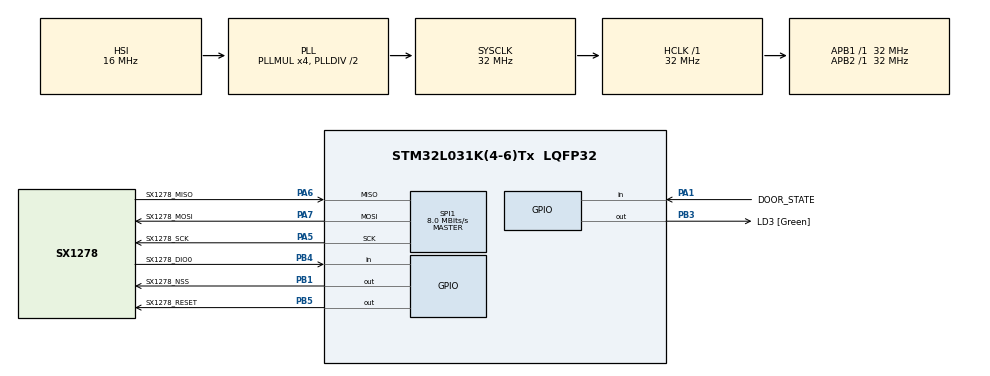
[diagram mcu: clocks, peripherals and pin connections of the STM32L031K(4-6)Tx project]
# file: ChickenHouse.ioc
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ADC.ContinuousConvMode=ENABLE
ADC.DMAContinuousRequests=ENABLE
ADC.EOCSelection=ADC_EOC_SEQ_CONV
ADC.Overrun=ADC_OVR_DATA_OVERWRITTEN
ADC.SamplingTime=ADC_SAMPLETIME_39CYCLES_5
Dma.ADC.0.Direction=DMA_PERIPH_TO_MEMORY
Dma.ADC.0.Instance=DMA1_Channel1
Dma.ADC.0.MemDataAlignment=DMA_MDATAALIGN_HALFWORD
Dma.ADC.0.MemInc=DMA_MINC_ENABLE
Dma.ADC.0.Mode=DMA_NORMAL
Dma.ADC.0.PeriphDataAlignment=DMA_PDATAALIGN_HALFWORD
Dma.ADC.0.PeriphInc=DMA_PINC_DISABLE
Dma.ADC.0.Priority=DMA_PRIORITY_MEDIUM
Dma.Request0=ADC
Mcu.Family=STM32L0
Mcu.Name=STM32L031K(4-6)Tx
Mcu.Package=LQFP32
NVIC.ADC1_COMP_IRQn=true\:0\:0\:false\:false\:true\:true\:true
NVIC.DMA1_Channel1_IRQn=true\:0\:0\:false\:false\:true\:false\:true
NVIC.RTC_IRQn=true\:0\:0\:false\:false\:true\:true\:true
NVIC.SPI1_IRQn=true\:0\:0\:false\:false\:true\:true\:true
PA1.GPIO_Label=DOOR_STATE
PA1.GPIO_PuPd=GPIO_PULLDOWN
PA1.Signal=GPIO_Input
PA13.GPIO_Label=TMS
PA13.Mode=Serial_Wire
PA13.Signal=SYS_SWDIO
PA14.GPIO_Label=TCK
PA14.Mode=Serial_Wire
PA14.Signal=SYS_SWCLK
PA5.GPIO_Label=SX1278_SCK
PA5.Mode=Full_Duplex_Master
PA5.Signal=SPI1_SCK
PA6.GPIO_Label=SX1278_MISO
PA6.Mode=Full_Duplex_Master
PA6.Signal=SPI1_MISO
PA7.GPIO_Label=SX1278_MOSI
PA7.Mode=Full_Duplex_Master
PA7.Signal=SPI1_MOSI
PB1.GPIO_Label=SX1278_NSS
PB1.Signal=GPIO_Output
PB3.GPIO_Label=LD3 [Green]
PB3.Signal=GPIO_Output
PB4.GPIO_Label=SX1278_DIO0
PB4.Signal=GPIO_Input
PB5.GPIO_Label=SX1278_RESET
PB5.Signal=GPIO_Output
PC14-OSC32_IN.Mode=LSE-External-Oscillator
PC14-OSC32_IN.Signal=RCC_OSC32_IN
PC15-OSC32_OUT.Mode=LSE-External-Oscillator
PC15-OSC32_OUT.Signal=RCC_OSC32_OUT
ProjectManager.HeapSize=0x200
ProjectManager.StackSize=0x400
ProjectManager.TargetToolchain=STM32CubeIDE
RCC.AHBFreq_Value=32000000
RCC.APB1Freq_Value=32000000
RCC.APB1TimFreq_Value=32000000
RCC.APB2Freq_Value=32000000
RCC.APB2TimFreq_Value=32000000
RCC.HCLKFreq_Value=32000000
RCC.HSE_VALUE=8000000
RCC.HSI16_VALUE=16000000
RCC.HSI48_VALUE=48000000
RCC.HSI_VALUE=16000000
RCC.MSI_VALUE=2097000
RCC.PLLMUL=RCC_PLLMUL_4
RCC.SYSCLKFreq_VALUE=32000000
RCC.SYSCLKSource=RCC_SYSCLKSOURCE_PLLCLK
RCC.VCOOutputFreq_Value=64000000
RTC.AsynchPrediv=0x7c
RTC.SynchPrediv=0x127
SPI1.BaudRatePrescaler=SPI_BAUDRATEPRESCALER_4
SPI1.CalculateBaudRate=8.0 MBits/s
SPI1.Direction=SPI_DIRECTION_2LINES
SPI1.Mode=SPI_MODE_MASTER
SPI1.VirtualType=VM_MASTER
VP_ADC_TempSens_Input.Mode=IN-TempSens
VP_ADC_Vref_Input.Mode=IN-Vrefint
VP_RTC_VS_RTC_Activate.Mode=RTC_Enabled
VP_RTC_VS_RTC_Calendar.Mode=RTC_Calendar
VP_RTC_VS_RTC_WakeUp_intern.Mode=WakeUp
board=NUCLEO-L031K6

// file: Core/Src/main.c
/* USER CODE BEGIN Header */
/**
  ******************************************************************************
  * @file           : main.c
  * @brief          : Main program body
  ******************************************************************************
  * @attention
  *
  * <h2><center>&copy; Copyright (c) 2020 STMicroelectronics.
  * All rights reserved.</center></h2>
  *
  * This software component is licensed by ST under BSD 3-Clause license,
  * the "License"; You may not use this file except in compliance with the
  * License. You may obtain a copy of the License at:
  *                        opensource.org/licenses/BSD-3-Clause
  *
  ******************************************************************************
  */
/* USER CODE END Header */
#include "main.h"

/* USER CODE BEGIN Includes */
#include "SX1278.h"
#include "hal_time.h"
/* USER CODE END Includes */

/* USER CODE BEGIN PD */
/// Read analog digital converter values every 10 minutes
#define COUNTS_ADC_READ_INTERVAL          30
/// Standard check interval for the digital input (chicken house door)
#define MEASURING_INTERVAL_MS             20000

/// Temperature sensor calibration value address for 130 °C
#define TEMP130_CAL_ADDR                  ((uint16_t*) ((uint32_t) 0x1FF8007E))
/// Temperature sensor calibration value address for 30 °C
#define TEMP30_CAL_ADDR                   ((uint16_t*) ((uint32_t) 0x1FF8007A))
/// Vdd calibration voltage in unit mV
#define VDD_CALIB                         ((uint16_t) (3000))
/* USER CODE END PD */

ADC_HandleTypeDef hadc;
DMA_HandleTypeDef hdma_adc;

RTC_HandleTypeDef hrtc;

SPI_HandleTypeDef hspi1;

/* USER CODE BEGIN PV */
// Hardware connection for the SX1278 (DIO, Reset and Spi)
SX1278_hw_t SX1278_hw;
// Handle to the SX1278 driver
SX1278_t SX1278;

// Send buffer
uint8_t buffer[64];
// Length of a message
int message_length;

// Last computes temperature value
int8_t temperature;
// Last calculates reference voltage value
uint16_t batteryVoltage;

// Read counter for the digital analog converter
uint16_t counterReadAdc = 0xFFFF;

// Flag ad-conversion is complete
uint8_t ADC_ConversionComplete;
/* USER CODE END PV */

void SystemClock_Config(void);
static void MX_GPIO_Init(void);
static void MX_DMA_Init(void);
static void MX_RTC_Init(void);
static void MX_SPI1_Init(void);
static void MX_ADC_Init(void);

/* USER CODE BEGIN 0 */
//-----------------------------------------------------------------
// Function for low power mode
//-----------------------------------------------------------------
// Choose the low power mode to enter
static void EnterLowPowerMode(void);
// Setup for the low power mode
static void SetupLowPowerMode(bool enableFastWakeup);
// Performs all necessary things after wake up to get a working system
static void ResumeLowPowerMode(void);

//-----------------------------------------------------------------
// Function for analog digital converter
//-----------------------------------------------------------------
// Starts the adc-calibration
static void AdcCalibration(void);
// Gets the analog values via dma process
static void GetAnalogValues(void);
// Starts analog digital converting process if necessary
static void GetAnalogValuesIfNecesssary(void);
// Computes the temperature value
static int32_t ComputeTemperature(uint16_t measure, uint16_t vdda);
// Calculates the current value of the reference voltage (battery voltage) in unit mV
static uint16_t CalcVref3_3V(uint32_t adcValue);

//-----------------------------------------------------------------
// LoRa-Functions
//-----------------------------------------------------------------
// Initializes the SX1278 module
static void InitializeSX1278Module(void);
// Fills the send buffer for a LoRa-packet
static int FillSendBuffer(void);
// Sends out a LoRa-packet
static void SendLoRaPacket(uint8_t *txBuf, uint8_t length);

//-----------------------------------------------------------------
// Other Functions
//-----------------------------------------------------------------
// Gets the current state of the door input pin
static uint8_t GetDoorState(void);
// Enables the door input pin pull down resistor
static void EnableDoorStatePinPullDown(void);
// Disables the door input pin pull down resistor
static void DisableDoorStatePinPullDown(void);
// Shows the led at start for one second
static void ShowLedAtStart(void);
// Generates an 8-Bit-Crc for a stream
uint8_t GenerateCrc(uint8_t *data, size_t len);
/* USER CODE END 0 */

int main(void)
{

   /* MCU Configuration--------------------------------------------------------*/

   /* Reset of all peripherals, Initializes the Flash interface and the Systick. */
   HAL_Init();

   /* Configure the system clock */
   SystemClock_Config();

   /* Initialize all configured peripherals */
   MX_GPIO_Init();
   MX_DMA_Init();
   MX_RTC_Init();
   MX_SPI1_Init();
   MX_ADC_Init();
   /* USER CODE BEGIN 2 */

   AdcCalibration();

   InitializeSX1278Module();

   ShowLedAtStart();
   /* USER CODE END 2 */

   /* Infinite loop */
   /* USER CODE BEGIN WHILE */
   while (1)
   {
      EnterLowPowerMode();

      EnableDoorStatePinPullDown();

      ResumeLowPowerMode();

      GetAnalogValuesIfNecesssary();

      message_length = FillSendBuffer();

      SendLoRaPacket((uint8_t *) buffer, message_length);

      DisableDoorStatePinPullDown();

      SX1278_sleep(&SX1278);
      /* USER CODE END WHILE */

   }
}

void SystemClock_Config(void)
{
  RCC_OscInitTypeDef RCC_OscInitStruct = {0};
  RCC_ClkInitTypeDef RCC_ClkInitStruct = {0};
  RCC_PeriphCLKInitTypeDef PeriphClkInit = {0};

  /** Configure the main internal regulator output voltage
  */
  __HAL_PWR_VOLTAGESCALING_CONFIG(PWR_REGULATOR_VOLTAGE_SCALE1);
  /** Initializes the RCC Oscillators according to the specified parameters
  * in the RCC_OscInitTypeDef structure.
  */
  RCC_OscInitStruct.OscillatorType = RCC_OSCILLATORTYPE_HSI|RCC_OSCILLATORTYPE_LSI;
  RCC_OscInitStruct.HSIState = RCC_HSI_ON;
  RCC_OscInitStruct.HSICalibrationValue = RCC_HSICALIBRATION_DEFAULT;
  RCC_OscInitStruct.LSIState = RCC_LSI_ON;
  RCC_OscInitStruct.PLL.PLLState = RCC_PLL_ON;
  RCC_OscInitStruct.PLL.PLLSource = RCC_PLLSOURCE_HSI;
  RCC_OscInitStruct.PLL.PLLMUL = RCC_PLLMUL_4;
  RCC_OscInitStruct.PLL.PLLDIV = RCC_PLLDIV_2;
  if (HAL_RCC_OscConfig(&RCC_OscInitStruct) != HAL_OK)
  {
    Error_Handler();
  }
  /** Initializes the CPU, AHB and APB buses clocks
  */
  RCC_ClkInitStruct.ClockType = RCC_CLOCKTYPE_HCLK|RCC_CLOCKTYPE_SYSCLK
                              |RCC_CLOCKTYPE_PCLK1|RCC_CLOCKTYPE_PCLK2;
  RCC_ClkInitStruct.SYSCLKSource = RCC_SYSCLKSOURCE_PLLCLK;
  RCC_ClkInitStruct.AHBCLKDivider = RCC_SYSCLK_DIV1;
  RCC_ClkInitStruct.APB1CLKDivider = RCC_HCLK_DIV1;
  RCC_ClkInitStruct.APB2CLKDivider = RCC_HCLK_DIV1;

  if (HAL_RCC_ClockConfig(&RCC_ClkInitStruct, FLASH_LATENCY_1) != HAL_OK)
  {
    Error_Handler();
  }
  PeriphClkInit.PeriphClockSelection = RCC_PERIPHCLK_RTC;
  PeriphClkInit.RTCClockSelection = RCC_RTCCLKSOURCE_LSI;
  if (HAL_RCCEx_PeriphCLKConfig(&PeriphClkInit) != HAL_OK)
  {
    Error_Handler();
  }
}

static void MX_ADC_Init(void)
{

  ADC_ChannelConfTypeDef sConfig = {0};

  /** Configure the global features of the ADC (Clock, Resolution, Data Alignment and number of conversion)
  */
  hadc.Instance = ADC1;
  hadc.Init.OversamplingMode = DISABLE;
  hadc.Init.ClockPrescaler = ADC_CLOCK_SYNC_PCLK_DIV2;
  hadc.Init.Resolution = ADC_RESOLUTION_12B;
  hadc.Init.SamplingTime = ADC_SAMPLETIME_39CYCLES_5;
  hadc.Init.ScanConvMode = ADC_SCAN_DIRECTION_FORWARD;
  hadc.Init.DataAlign = ADC_DATAALIGN_RIGHT;
  hadc.Init.ContinuousConvMode = ENABLE;
  hadc.Init.DiscontinuousConvMode = DISABLE;
  hadc.Init.ExternalTrigConvEdge = ADC_EXTERNALTRIGCONVEDGE_NONE;
  hadc.Init.ExternalTrigConv = ADC_SOFTWARE_START;
  hadc.Init.DMAContinuousRequests = ENABLE;
  hadc.Init.EOCSelection = ADC_EOC_SEQ_CONV;
  hadc.Init.Overrun = ADC_OVR_DATA_OVERWRITTEN;
  hadc.Init.LowPowerAutoWait = DISABLE;
  hadc.Init.LowPowerFrequencyMode = DISABLE;
  hadc.Init.LowPowerAutoPowerOff = DISABLE;
  if (HAL_ADC_Init(&hadc) != HAL_OK)
  {
    Error_Handler();
  }
  /** Configure for the selected ADC regular channel to be converted.
  */
  sConfig.Channel = ADC_CHANNEL_TEMPSENSOR;
  sConfig.Rank = ADC_RANK_CHANNEL_NUMBER;
  if (HAL_ADC_ConfigChannel(&hadc, &sConfig) != HAL_OK)
  {
    Error_Handler();
  }
  /** Configure for the selected ADC regular channel to be converted.
  */
  sConfig.Channel = ADC_CHANNEL_VREFINT;
  if (HAL_ADC_ConfigChannel(&hadc, &sConfig) != HAL_OK)
  {
    Error_Handler();
  }

}

static void MX_RTC_Init(void)
{

  RTC_TimeTypeDef sTime = {0};
  RTC_DateTypeDef sDate = {0};

  /** Initialize RTC Only
  */
  hrtc.Instance = RTC;
  hrtc.Init.HourFormat = RTC_HOURFORMAT_24;
  hrtc.Init.AsynchPrediv = 0x7c;
  hrtc.Init.SynchPrediv = 0x127;
  hrtc.Init.OutPut = RTC_OUTPUT_DISABLE;
  hrtc.Init.OutPutRemap = RTC_OUTPUT_REMAP_NONE;
  hrtc.Init.OutPutPolarity = RTC_OUTPUT_POLARITY_HIGH;
  hrtc.Init.OutPutType = RTC_OUTPUT_TYPE_OPENDRAIN;
  if (HAL_RTC_Init(&hrtc) != HAL_OK)
  {
    Error_Handler();
  }

  /** Initialize RTC and set the Time and Date
  */
  sTime.Hours = 0x0;
  sTime.Minutes = 0x0;
  sTime.Seconds = 0x0;
  sTime.DayLightSaving = RTC_DAYLIGHTSAVING_NONE;
  sTime.StoreOperation = RTC_STOREOPERATION_RESET;
  if (HAL_RTC_SetTime(&hrtc, &sTime, RTC_FORMAT_BCD) != HAL_OK)
  {
    Error_Handler();
  }
  sDate.WeekDay = RTC_WEEKDAY_MONDAY;
  sDate.Month = RTC_MONTH_JANUARY;
  sDate.Date = 0x1;
  sDate.Year = 0x0;

  if (HAL_RTC_SetDate(&hrtc, &sDate, RTC_FORMAT_BCD) != HAL_OK)
  {
    Error_Handler();
  }
  /** Enable the WakeUp
  */
  if (HAL_RTCEx_SetWakeUpTimer_IT(&hrtc, 0, RTC_WAKEUPCLOCK_RTCCLK_DIV16) != HAL_OK)
  {
    Error_Handler();
  }

}

static void MX_SPI1_Init(void)
{

  /* SPI1 parameter configuration*/
  hspi1.Instance = SPI1;
  hspi1.Init.Mode = SPI_MODE_MASTER;
  hspi1.Init.Direction = SPI_DIRECTION_2LINES;
  hspi1.Init.DataSize = SPI_DATASIZE_8BIT;
  hspi1.Init.CLKPolarity = SPI_POLARITY_LOW;
  hspi1.Init.CLKPhase = SPI_PHASE_1EDGE;
  hspi1.Init.NSS = SPI_NSS_SOFT;
  hspi1.Init.BaudRatePrescaler = SPI_BAUDRATEPRESCALER_4;
  hspi1.Init.FirstBit = SPI_FIRSTBIT_MSB;
  hspi1.Init.TIMode = SPI_TIMODE_DISABLE;
  hspi1.Init.CRCCalculation = SPI_CRCCALCULATION_DISABLE;
  hspi1.Init.CRCPolynomial = 7;
  if (HAL_SPI_Init(&hspi1) != HAL_OK)
  {
    Error_Handler();
  }
}

static void MX_DMA_Init(void)
{

  /* DMA controller clock enable */
  __HAL_RCC_DMA1_CLK_ENABLE();

  /* DMA interrupt init */
  /* DMA1_Channel1_IRQn interrupt configuration */
  HAL_NVIC_SetPriority(DMA1_Channel1_IRQn, 0, 0);
  HAL_NVIC_EnableIRQ(DMA1_Channel1_IRQn);
}

static void MX_GPIO_Init(void)
{
  GPIO_InitTypeDef GPIO_InitStruct = {0};

  /* GPIO Ports Clock Enable */
  __HAL_RCC_GPIOC_CLK_ENABLE();
  __HAL_RCC_GPIOA_CLK_ENABLE();
  __HAL_RCC_GPIOB_CLK_ENABLE();

  /*Configure GPIO pin Output Level */
  HAL_GPIO_WritePin(GPIOB, SX1278_NSS_Pin|LD3_Pin|SX1278_RESET_Pin, GPIO_PIN_RESET);

  /*Configure GPIO pin : DOOR_STATE_Pin */
  GPIO_InitStruct.Pin = DOOR_STATE_Pin;
  GPIO_InitStruct.Mode = GPIO_MODE_INPUT;
  GPIO_InitStruct.Pull = GPIO_PULLDOWN;
  HAL_GPIO_Init(DOOR_STATE_GPIO_Port, &GPIO_InitStruct);

  /*Configure GPIO pins : SX1278_NSS_Pin LD3_Pin SX1278_RESET_Pin */
  GPIO_InitStruct.Pin = SX1278_NSS_Pin|LD3_Pin|SX1278_RESET_Pin;
  GPIO_InitStruct.Mode = GPIO_MODE_OUTPUT_PP;
  GPIO_InitStruct.Pull = GPIO_NOPULL;
  GPIO_InitStruct.Speed = GPIO_SPEED_FREQ_LOW;
  HAL_GPIO_Init(GPIOB, &GPIO_InitStruct);

  /*Configure GPIO pin : SX1278_DIO0_Pin */
  GPIO_InitStruct.Pin = SX1278_DIO0_Pin;
  GPIO_InitStruct.Mode = GPIO_MODE_INPUT;
  GPIO_InitStruct.Pull = GPIO_NOPULL;
  HAL_GPIO_Init(SX1278_DIO0_GPIO_Port, &GPIO_InitStruct);

}

/* USER CODE BEGIN 4 */

//-----------------------------------------------------------------
// Function for low power mode
//-----------------------------------------------------------------

/**
 * @brief Choose the low power mode to enter
 *
 * If we don't need reading the analog values after wake, fast wake up will be choose to reduce the power consumption
 */
static void EnterLowPowerMode(void)
{
   if (counterReadAdc == 0xFFFF || counterReadAdc == COUNTS_ADC_READ_INTERVAL)
   {
      SetupLowPowerMode(false);
   }
   else
   {
      SetupLowPowerMode(true);
   }
}

/**
 * @brief Setup for the low power mode
 *
 * @param enableFastWakeup: true - Fast wake up is enable (reference voltage not stable directly after wake up),
 *                          false - Fast wake up disabled (reference voltage is stable after wake up)
 */
static void SetupLowPowerMode(bool enableFastWakeup)
{
   // Configure RTC to wake up after 20000ms
   uint32_t _time = (((uint32_t)MEASURING_INTERVAL_MS) * 2314) / 1000;
   HAL_RTCEx_SetWakeUpTimer_IT(&hrtc, _time, RTC_WAKEUPCLOCK_RTCCLK_DIV16);

   // Enable Power Control clock
   __HAL_RCC_PWR_CLK_ENABLE();
   // Enable ultra low power mode
   HAL_PWREx_EnableUltraLowPower();

      if (true == enableFastWakeup)
      HAL_PWREx_EnableFastWakeUp();    // Fast wake-up for ultra low power mode
   else
      HAL_PWREx_DisableFastWakeUp();   // Fast wake-up for ultra low power mode

   // Switch to STOP-Mode
   HAL_PWR_EnterSTOPMode(PWR_LOWPOWERREGULATOR_ON, PWR_STOPENTRY_WFI);
}

/**
 * Performs all necessary things after wake up to get a working system
 */
static void ResumeLowPowerMode(void)
{
   // Reinitializes clocks
   SystemClock_Config();
}

//-----------------------------------------------------------------
// Function for analog digital converter
//-----------------------------------------------------------------

/**
 * Gets the analog values via dma process
 */
static void GetAnalogValues(void)
{
   uint16_t regularItems[2];

   ADC_ConversionComplete = 0;

   // start dma process and ...
   if (HAL_ADC_Start_DMA(&hadc, (uint32_t *)regularItems, 2) != HAL_OK)
   {
      Error_Handler();
   }

   // ... wait for the end of DMA transfer ...
   while ( 0 == ADC_ConversionComplete )
   {
   }

   // ... stop the dma
   HAL_ADC_Stop_DMA(&hadc);

   // calculate the values
   batteryVoltage = CalcVref3_3V(regularItems[0]);

   temperature = ComputeTemperature(regularItems[1], batteryVoltage);
}

/**
 * Starts analog digital converting process if necessary
 */
static void GetAnalogValuesIfNecesssary(void)
{
   if (counterReadAdc == 0xFFFF || counterReadAdc == COUNTS_ADC_READ_INTERVAL)
   {
      GetAnalogValues();
      counterReadAdc = 0;
   }
   else
   {
      counterReadAdc++;
   }
}

/**
 * @brief Computes the temperature value
 *
 * @param measure: Raw measuring value
 * @param vdda: Current voltage value of the battery (unit mV)
 *
 * @retval Temperature value in degree celcius
 */
static int32_t ComputeTemperature(uint16_t measure, uint16_t vdda)
{
   int32_t temperatureValue;
   temperatureValue = ((measure * vdda / VDD_CALIB) - (int32_t) *TEMP30_CAL_ADDR );

   temperatureValue = temperatureValue * (int32_t)(130 - 30);
   temperatureValue = temperatureValue / (int32_t)(*TEMP130_CAL_ADDR - *TEMP30_CAL_ADDR);
   temperatureValue = temperatureValue + 30;

   return (temperatureValue);
}

/**
 * @brief Calculates the current value of the reference voltage (battery voltage) in unit mV
 *
 * @param adcValue: Raw measuring value
 *
 * @retval Reference voltage (battery voltage) in unit mV
 */
static uint16_t CalcVref3_3V(uint32_t adcValue)
{
   uint16_t vrefint_cal = *((uint16_t*)0x1FF80078);

   uint16_t vdda = (uint16_t)((3000 * vrefint_cal) / adcValue);

   return vdda;
}

//-----------------------------------------------------------------
// LoRa-Functions
//-----------------------------------------------------------------

/**
 * Initializes the SX1278 module
 */
static void InitializeSX1278Module(void)
{
   // initialize hardware connection
   SX1278_hw.dio0.port = SX1278_DIO0_GPIO_Port;
   SX1278_hw.dio0.pin = SX1278_DIO0_Pin;
   SX1278_hw.nss.port = SX1278_NSS_GPIO_Port;
   SX1278_hw.nss.pin = SX1278_NSS_Pin;
   SX1278_hw.reset.port = SX1278_RESET_GPIO_Port;
   SX1278_hw.reset.pin = SX1278_RESET_Pin;
   SX1278_hw.spi = &hspi1;

   SX1278.hw = &SX1278_hw;

   // Initialize the SX1278 module
   // - Frequency: 433 MHz
   // - Send power: 14 dbm
   // - LoRa rate: 6 (spreading factor)
   // - Bandwidth: 250kHz
   // - Packet length: 10 bytes
   SX1278_begin(&SX1278, SX1278_433MHZ, SX1278_POWER_17DBM, SX1278_LORA_SF_10, SX1278_LORA_BW_250KHZ, 10, SX1278_LORA_IMPLICIT_HEADER_MODE);
}

/**
 * Fills the send buffer for a LoRa-packet
 *
 * @retval Length of the send buffer
 */
static int FillSendBuffer(void)
{
   buffer[0] = GetDoorState();
   buffer[1] = (uint8_t)temperature;
   buffer[2] = (uint8_t)((batteryVoltage >> 8) & 0xFF);
   buffer[3] = (uint8_t)(batteryVoltage & 0xFF);
   buffer[4] = GenerateCrc(buffer, 4);

   return 5;
}

/**
 * Generates an 8-Bit-Crc for a stream
 *
 * @param data: Pointer to the data stream
 * qparam len: Length of the data stream
 *
 * @retval Calculated crc
 */
uint8_t GenerateCrc(uint8_t *data, size_t len)
{
   uint8_t crc = 0xff;
   size_t i, j;

   for (i = 0; i < len; i++)
   {
      crc ^= data[i];

      for (j = 0; j < 8; j++)
      {
         if ((crc & 0x80) != 0)
            crc = (uint8_t)((crc << 1) ^ 0x31);
         else
            crc <<= 1;
      }
   }

   return crc;
}

/**
 * Sends out a LoRa-packet
 *
 * @param txBuf: Buffer with data to send
 * @param length: Length of the send buffer in bytes
 */
static void SendLoRaPacket(uint8_t *txBuf, uint8_t length)
{
   SX1278_LoRaEntryTx(&SX1278, length, 2000);

   SX1278_LoRaTxPacket(&SX1278, txBuf, length, 2000);
}

//-----------------------------------------------------------------
// Other Functions
//-----------------------------------------------------------------

/**
 * @brief Gets the current state of the door input pin
 *
 * @retval Current state of the door input pin (0 - Door closed, 1 - Door open)
 */
static uint8_t GetDoorState(void)
{
   char retVal;

   if (HAL_GPIO_ReadPin(DOOR_STATE_GPIO_Port, DOOR_STATE_Pin) == GPIO_PIN_SET)
   {
      retVal = 0x01;
   }
   else
   {
      retVal = 0x00;
   }

   return retVal;
}

/**
 * Enables the door input pin pull down resistor
 */
void EnableDoorStatePinPullDown(void)
{
   GPIO_InitTypeDef GPIO_InitStruct = {0};

   /*Configure GPIO pin : DOOR_STATE_Pin */
   GPIO_InitStruct.Pin = DOOR_STATE_Pin;
   GPIO_InitStruct.Mode = GPIO_MODE_INPUT;
   GPIO_InitStruct.Pull = GPIO_PULLDOWN;
   HAL_GPIO_Init(DOOR_STATE_GPIO_Port, &GPIO_InitStruct);
}

/**
 * Disables the door input pin pull down resistor
 */
static void DisableDoorStatePinPullDown(void)
{
   GPIO_InitTypeDef GPIO_InitStruct = {0};

   /*Configure GPIO pin : DOOR_STATE_Pin */
   GPIO_InitStruct.Pin = DOOR_STATE_Pin;
   GPIO_InitStruct.Mode = GPIO_MODE_INPUT;
   GPIO_InitStruct.Pull = GPIO_NOPULL;
   HAL_GPIO_Init(DOOR_STATE_GPIO_Port, &GPIO_InitStruct);
}

/**
 * Starts the adc-calibration
 */
static void AdcCalibration(void)
{
   if (HAL_ADCEx_Calibration_Start(&hadc, ADC_SINGLE_ENDED) !=  HAL_OK)
   {
      Error_Handler();
   }
}

/**
 * Shows the led at start for one second
 */
static void ShowLedAtStart(void)
{
   HAL_GPIO_WritePin(LD3_GPIO_Port, LD3_Pin, GPIO_PIN_SET);

   HAL_Delay(1000);

   HAL_GPIO_WritePin(LD3_GPIO_Port, LD3_Pin, GPIO_PIN_RESET);
}

/* USER CODE END 4 */

void Error_Handler(void)
{
}

/************************ (C) COPYRIGHT STMicroelectronics *****END OF FILE****/
